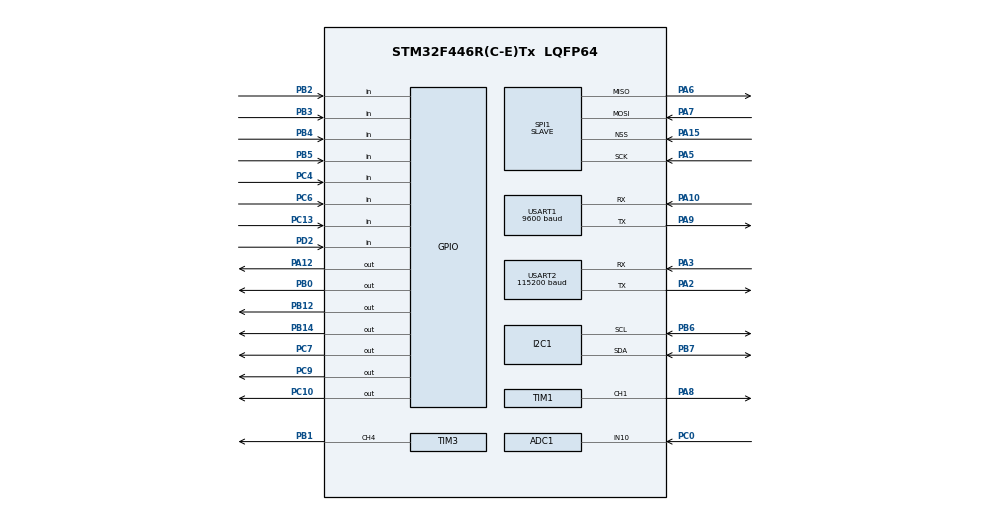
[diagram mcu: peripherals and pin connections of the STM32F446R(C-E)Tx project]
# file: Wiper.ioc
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ADC1.Channel-0\#ChannelRegularConversion=ADC_CHANNEL_10
ADC1.ContinuousConvMode=ENABLE
ADC1.NbrOfConversionFlag=1
ADC1.Rank-0\#ChannelRegularConversion=1
ADC1.SamplingTime-0\#ChannelRegularConversion=ADC_SAMPLETIME_3CYCLES
ADC1.master=1
FREERTOS.Tasks01=defaultTask,24,512,StartDefaultTask,Default,NULL,Dynamic,NULL,NULL
FREERTOS.configTOTAL_HEAP_SIZE=24576
FREERTOS.configUSE_NEWLIB_REENTRANT=1
Mcu.Family=STM32F4
Mcu.Name=STM32F446R(C-E)Tx
Mcu.Package=LQFP64
NVIC.PriorityGroup=NVIC_PRIORITYGROUP_4
NVIC.USART1_IRQn=true\:5\:0\:false\:false\:true\:true\:true\:true\:true
NVIC.USART2_IRQn=true\:5\:0\:false\:false\:true\:true\:true\:true\:true
PA0-WKUP.Signal=UART4_TX
PA1.Signal=UART4_RX
PA10.Mode=Asynchronous
PA10.Signal=USART1_RX
PA12.Signal=GPIO_Output
PA15.Mode=NSS_Signal_Hard_Input
PA15.Signal=SPI1_NSS
PA2.Mode=Asynchronous
PA2.Signal=USART2_TX
PA3.Mode=Asynchronous
PA3.Signal=USART2_RX
PA5.Mode=Full_Duplex_Slave
PA5.Signal=SPI1_SCK
PA6.Mode=Full_Duplex_Slave
PA6.Signal=SPI1_MISO
PA7.Mode=Full_Duplex_Slave
PA7.Signal=SPI1_MOSI
PA8.Signal=S_TIM1_CH1
PA9.Mode=Asynchronous
PA9.Signal=USART1_TX
PB0.Signal=GPIO_Output
PB1.Signal=S_TIM3_CH4
PB12.Signal=GPIO_Output
PB14.Signal=GPIO_Output
PB2.Signal=GPIO_Input
PB3.Signal=GPIO_Input
PB4.Signal=GPIO_Input
PB5.Signal=GPIO_Input
PB6.Mode=I2C
PB6.Signal=I2C1_SCL
PB7.Mode=I2C
PB7.Signal=I2C1_SDA
PC0.Signal=ADCx_IN10
PC10.Signal=GPIO_Output
PC13.Signal=GPIO_Input
PC4.GPIO_PuPd=GPIO_PULLDOWN
PC4.Signal=GPIO_Input
PC6.Signal=GPIO_Input
PC7.Signal=GPIO_Output
PC9.Signal=GPIO_Output
PD2.Signal=GPIO_Input
ProjectManager.HeapSize=0x200
ProjectManager.StackSize=0x400
ProjectManager.TargetToolchain=STM32CubeIDE
RCC.CortexFreq_Value=16000000
RCC.USBFreq_Value=96000000
RCC.VCOOutputFreq_Value=192000000
SH.ADCx_IN10.0=ADC1_IN10,IN10
SH.S_TIM1_CH1.0=TIM1_CH1,PWM Generation1 CH1
SH.S_TIM3_CH4.0=TIM3_CH4,PWM Generation4 CH4
SPI1.Direction=SPI_DIRECTION_2LINES
SPI1.Mode=SPI_MODE_SLAVE
SPI1.VirtualNSS=VM_NSSHARD
SPI1.VirtualType=VM_SLAVE
TIM1.AutoReloadPreload=TIM_AUTORELOAD_PRELOAD_ENABLE
TIM1.Channel-PWM\ Generation1\ CH1=TIM_CHANNEL_1
TIM1.Period=999
TIM1.Prescaler=83
TIM2.Period=0xFFFFFFFF 
TIM2.Prescaler=15
TIM3.AutoReloadPreload=TIM_AUTORELOAD_PRELOAD_ENABLE
TIM3.Channel-PWM\ Generation4\ CH4=TIM_CHANNEL_4
TIM3.Period=999
TIM3.Prescaler=83
TIM4.Prescaler=15
USART1.BaudRate=9600
USART1.VirtualMode=VM_ASYNC
USART2.BaudRate=115200
USART2.VirtualMode=VM_ASYNC
VP_FREERTOS_VS_CMSIS_V2.Mode=CMSIS_V2
VP_TIM1_VS_ClockSourceINT.Mode=Internal
VP_TIM2_VS_ClockSourceINT.Mode=Internal
VP_TIM4_VS_ClockSourceINT.Mode=Internal
board=custom

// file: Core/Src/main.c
/* USER CODE BEGIN Header */

/* USER CODE END Header */
#include "main.h"
#include "cmsis_os.h"
#include "adc.h"
#include "i2c.h"
#include "spi.h"
#include "tim.h"
#include "usart.h"
#include "gpio.h"

/* USER CODE BEGIN Includes */
#include "bluetooth.h"
#include <string.h>
#include <stdio.h>
/* USER CODE END Includes */

void SystemClock_Config(void);
void MX_FREERTOS_Init(void);

/* USER CODE BEGIN 0 */
uint8_t rx_data;
uint8_t spi1_rx_buf[10];
uint8_t spi1_tx_buf[10];

extern SPI_HandleTypeDef hspi1;
extern TIM_HandleTypeDef htim2;
extern UART_HandleTypeDef huart1;
extern UART_HandleTypeDef huart2;

void SPI1_Start_Receive_IT()
{
	HAL_SPI_Receive_IT(&hspi1, spi1_rx_buf, 1); // 1byte 먼저 수신 대기
}

void Timer_Accuracy_Test() // 타이머 정확도 테스트
{
    HAL_TIM_Base_Start(&htim2);
    for (int i = 0; i < 3; i++)
    {
        uint32_t before = __HAL_TIM_GET_COUNTER(&htim2);
        HAL_Delay(1000);  // 1초 대기
        uint32_t after = __HAL_TIM_GET_COUNTER(&htim2);

        char buf[64];
        sprintf(buf, "Timer count in 1s: %lu us\r\n", (after - before));
        HAL_UART_Transmit(&huart2, (uint8_t*)buf, strlen(buf), HAL_MAX_DELAY);
    }
    HAL_TIM_Base_Stop(&htim2);
}

/* USER CODE END 0 */

int main(void)
{

  /* MCU Configuration--------------------------------------------------------*/

  /* Reset of all peripherals, Initializes the Flash interface and the Systick. */
  HAL_Init();

  /* Configure the system clock */
  SystemClock_Config();

  /* Initialize all configured peripherals */
  MX_GPIO_Init();
  MX_SPI1_Init();
  MX_TIM1_Init();
  MX_USART2_UART_Init();
  MX_TIM2_Init();
  MX_ADC1_Init();
  MX_USART1_UART_Init();
  MX_I2C1_Init();
  MX_TIM3_Init();
  MX_TIM4_Init();
  /* USER CODE BEGIN 2 */

  // 타이머 정확도 테스트 실행
  Timer_Accuracy_Test();

  /* USER CODE END 2 */

  /* Init scheduler */
  osKernelInitialize();

  /* Call init function for freertos objects (in cmsis_os2.c) */
  MX_FREERTOS_Init();

  /* Start scheduler */
  osKernelStart();

  /* We should never get here as control is now taken by the scheduler */

  /* Infinite loop */
  while (1)
  {

  }
}

void SystemClock_Config(void)
{
  RCC_OscInitTypeDef RCC_OscInitStruct = {0};
  RCC_ClkInitTypeDef RCC_ClkInitStruct = {0};

  /** Configure the main internal regulator output voltage
  */
  __HAL_RCC_PWR_CLK_ENABLE();
  __HAL_PWR_VOLTAGESCALING_CONFIG(PWR_REGULATOR_VOLTAGE_SCALE3);

  /** Initializes the RCC Oscillators according to the specified parameters
  * in the RCC_OscInitTypeDef structure.
  */
  RCC_OscInitStruct.OscillatorType = RCC_OSCILLATORTYPE_HSI;
  RCC_OscInitStruct.HSIState = RCC_HSI_ON;
  RCC_OscInitStruct.HSICalibrationValue = RCC_HSICALIBRATION_DEFAULT;
  RCC_OscInitStruct.PLL.PLLState = RCC_PLL_NONE;
  if (HAL_RCC_OscConfig(&RCC_OscInitStruct) != HAL_OK)
  {
    Error_Handler();
  }

  /** Initializes the CPU, AHB and APB buses clocks
  */
  RCC_ClkInitStruct.ClockType = RCC_CLOCKTYPE_HCLK|RCC_CLOCKTYPE_SYSCLK
                              |RCC_CLOCKTYPE_PCLK1|RCC_CLOCKTYPE_PCLK2;
  RCC_ClkInitStruct.SYSCLKSource = RCC_SYSCLKSOURCE_HSI;
  RCC_ClkInitStruct.AHBCLKDivider = RCC_SYSCLK_DIV1;
  RCC_ClkInitStruct.APB1CLKDivider = RCC_HCLK_DIV1;
  RCC_ClkInitStruct.APB2CLKDivider = RCC_HCLK_DIV1;

  if (HAL_RCC_ClockConfig(&RCC_ClkInitStruct, FLASH_LATENCY_0) != HAL_OK)
  {
    Error_Handler();
  }
}

/* USER CODE BEGIN 4 */
void HAL_UART_RxCpltCallback(UART_HandleTypeDef *huart)
{
	if (huart->Instance == USART1)  // 블루투스(UART1) 수신일 때만 콜백 호출
	{
		Bluetooth_RxCallback();  // BLE 명령 처리
	}
	else if (huart->Instance == USART2)
	{
		HAL_UART_Receive_IT(&huart2, &rx_data, 1);  // PC 로그용 UART2 다시 수신 대기
	}
}

/* USER CODE END 4 */

void Error_Handler(void)
{
  __disable_irq();
  while (1)
  {
  }
}

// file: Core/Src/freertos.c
/* USER CODE BEGIN Header */
/*
  ******************************************************************************
  * File Name          : freertos.c
  * Description        : Code for freertos applications
  ******************************************************************************
*/
/* USER CODE END Header */

#include "FreeRTOS.h"
#include "task.h"
#include "main.h"
#include "cmsis_os.h"

/* USER CODE BEGIN Includes */
#include "task_manage.h"

extern UART_HandleTypeDef huart2;
extern SPI_HandleTypeDef hspi1;
extern TIM_HandleTypeDef htim4;
extern uint8_t current_motor_cmd;
/* USER CODE END Includes */

void MX_FREERTOS_Init(void);

/* USER CODE BEGIN FunctionPrototypes */
// 센서 로그 콜백 함수
void SensorLogPrinter(const char* msg)
{
    char buf[128];
    snprintf(buf, sizeof(buf), "[SENSOR LOG] %s\r\n", msg);
    HAL_UART_Transmit(&huart2, (uint8_t*)buf, strlen(buf), HAL_MAX_DELAY);
}
/* USER CODE END FunctionPrototypes */

/**
  * @brief  FreeRTOS Initialization
  * @retval None
  */
void MX_FREERTOS_Init(void)
{
  /* USER CODE BEGIN init */

  // ---- MPU6050 센서 초기화 ----
  if (MPU6050_Init())
    HAL_UART_Transmit(&huart2, (uint8_t*)"MPU6050 Init OK\r\n", 18, HAL_MAX_DELAY);
  else
    HAL_UART_Transmit(&huart2, (uint8_t*)"MPU6050 Init FAIL\r\n", 20, HAL_MAX_DELAY);

  // ---- 블루투스 초기화 ----
  Bluetooth_Init();

  // ---- 큐 생성 ----
  uartQueueHandle = osMessageQueueNew(8, sizeof(SensorMessage_t), NULL);  // 센서 UART 출력용 큐
  motorQueueHandle = xQueueCreate(8, sizeof(uint8_t));                    // 모터 명령 큐

  // ---- 타이머4 시작 (초음파 거리 측정용) ----
  HAL_TIM_Base_Start(&htim4);

  // ---- 태스크 생성 ----
  mpuTaskHandle         = osThreadNew(StartMPUTask, NULL, &mpuTask_attributes);
  cdsTaskHandle         = osThreadNew(StartCDSTask, NULL, &cdsTask_attributes);
  osThreadNew(StartUARTTask, NULL, &uartTask_attributes);
  osThreadNew(StartMotorTask, NULL, &motorTask_attributes);
  ultrasonicTaskHandle  = osThreadNew(UltrasonicTask, NULL, &ultrasonicTask_attributes);
  spiTaskHandle         = osThreadNew(StartSPITask, NULL, &spiTask_attributes);
  lineTracerTaskHandle = osThreadNew(StartLineTracerTask, NULL, &lineTracerTask_attributes); // 필요시 활성화

  /* USER CODE END init */
}
